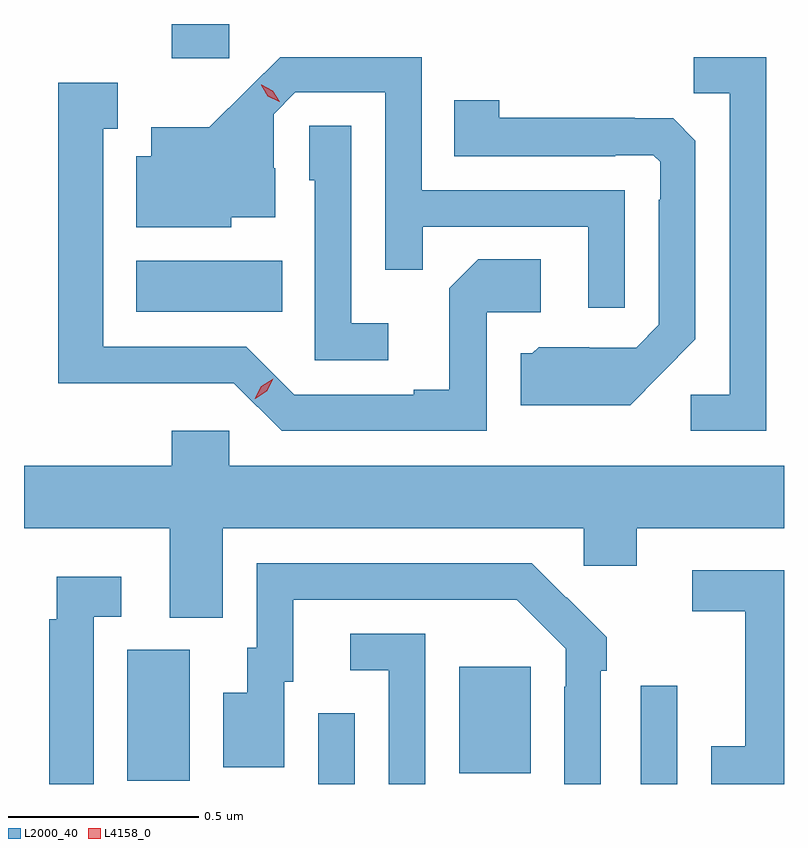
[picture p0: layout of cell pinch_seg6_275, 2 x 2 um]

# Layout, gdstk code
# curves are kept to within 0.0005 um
import gdstk
lib = gdstk.Library(unit=1e-6, precision=1e-09)
def R(c, l, rs):  # rectangles x0, y0, x1, y1
    for r in rs: c.add(gdstk.rectangle(r[:2], r[2:], *l))
def P(c, l, *ps):  # polygons
    for p in ps: c.add(gdstk.Polygon(p, *l))
L2000_40 = (2000, 40)
L4158_0 = (4158, 0)

pinch_seg6_275 = lib.new_cell('pinch_seg6_275')
R(pinch_seg6_275, L2000_40, [(885.324,986.623,885.42,986.809), (886.173,986.623,886.269,986.881), (884.822,986.632,884.986,986.976), (885.695,986.651,885.883,986.932), (884.846,987.866,885.23,988), (884.939,988.533,885.09,988.623)])
P(pinch_seg6_275, L2000_40, [(886.503,988.536),(886.312,988.536),(886.312,988.441),(886.407,988.441),(886.407,987.648),(886.305,987.648),(886.305,987.552),(886.503,987.552)],
  [(886.131,988.185),(885.597,988.185),(885.597,988.536),(885.224,988.536),(885.037,988.351),(884.885,988.351),(884.885,988.275),(884.846,988.275),(884.846,988.088),(885.096,988.088),(885.096,988.115),(885.211,988.115),(885.211,988.244),(885.207,988.244),(885.207,988.386),(885.264,988.443),(885.501,988.443),(885.501,987.976),(885.599,987.976),(885.599,988.089),(886.035,988.089),(886.035,987.876),(886.131,987.876)],
  [(885.768,987.864),(885.91,987.864),(885.91,988.004),(885.745,988.004),(885.669,987.928),(885.669,987.661),(885.575,987.661),(885.575,987.648),(885.261,987.648),(885.135,987.774),(884.758,987.774),(884.758,988.347),(884.797,988.347),(884.797,988.468),(884.64,988.468),(884.64,987.677),(884.88,987.677),(884.88,987.678),(885.102,987.678),(885.228,987.552),(885.768,987.552)],
  [(886.225,987.701),(886.317,987.794),(886.317,988.316),(886.258,988.375),(886.157,988.375),(886.157,988.376),(885.801,988.376),(885.801,988.423),(885.682,988.423),(885.682,988.275),(886.106,988.275),(886.106,988.278),(886.206,988.278),(886.224,988.26),(886.224,988.16),(886.221,988.16),(886.221,987.831),(886.161,987.771),(886.038,987.771),(886.038,987.772),(885.904,987.772),(885.888,987.756),(885.857,987.756),(885.857,987.62),(886.145,987.62)],
  [(885.508,987.835),(885.411,987.835),(885.411,988.355),(885.3,988.355),(885.3,988.212),(885.315,988.212),(885.315,987.738),(885.508,987.738)],
  [(885.073,987.296),(886.023,987.296),(886.023,987.198),(886.162,987.198),(886.162,987.296),(886.55,987.296),(886.55,987.46),(885.09,987.46),(885.09,987.553),(884.939,987.553),(884.939,987.46),(884.55,987.46),(884.55,987.296),(884.933,987.296),(884.933,987.061),(885.073,987.061)],
  [(886.068,986.921),(886.083,986.921),(886.083,987.009),(885.978,987.114),(885.977,987.113),(885.886,987.204),(885.162,987.204),(885.162,986.982),(885.137,986.982),(885.137,986.863),(885.074,986.863),(885.074,986.667),(885.235,986.667),(885.235,986.892),(885.259,986.892),(885.259,987.108),(885.847,987.108),(885.975,986.979),(885.975,986.879),(885.972,986.879),(885.972,986.623),(886.068,986.623)],
  [(886.55,987.186),(886.308,987.186),(886.308,987.078),(886.448,987.078),(886.448,986.722),(886.358,986.722),(886.358,986.623),(886.55,986.623)],
  [(884.733,987.063),(884.806,987.063),(884.806,987.169),(884.636,987.169),(884.636,987.056),(884.617,987.056),(884.617,986.623),(884.733,986.623)],
  [(885.606,987.018),(885.408,987.018),(885.408,986.922),(885.51,986.922),(885.51,986.623),(885.606,986.623)])
P(pinch_seg6_275, L4158_0, [(885.222,988.418),(885.192,988.433),(885.174,988.462),(885.174,988.463),(885.175,988.463),(885.205,988.448),(885.223,988.419),(885.223,988.418)],
  [(885.157,987.637),(885.157,987.637),(885.174,987.67),(885.206,987.69),(885.206,987.69),(885.206,987.689),(885.189,987.657),(885.158,987.637)])

lib.write_gds('pinch_seg6_275.gds')
